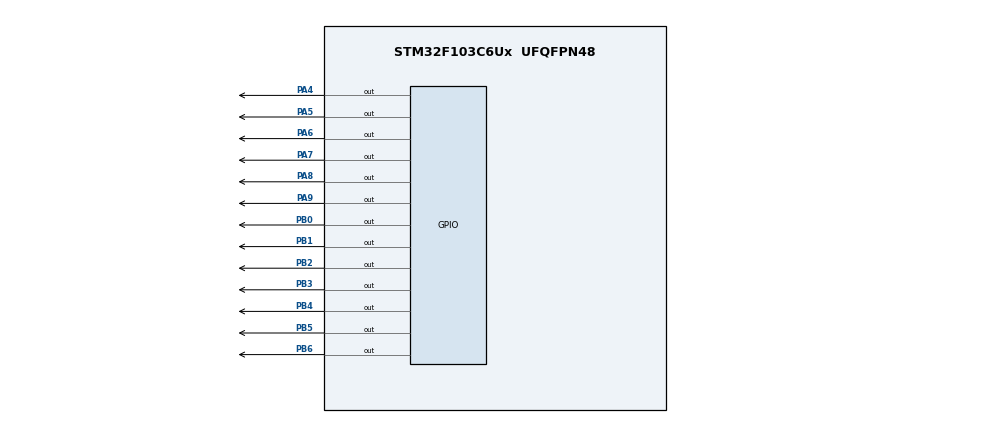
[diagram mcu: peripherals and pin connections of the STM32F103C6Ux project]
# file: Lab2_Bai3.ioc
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Mcu.Family=STM32F1
Mcu.Name=STM32F103C6Ux
Mcu.Package=UFQFPN48
NVIC.PriorityGroup=NVIC_PRIORITYGROUP_4
NVIC.TIM2_IRQn=true\:0\:0\:false\:false\:true\:true\:true
PA4.Signal=GPIO_Output
PA5.Signal=GPIO_Output
PA6.Signal=GPIO_Output
PA7.Signal=GPIO_Output
PA8.Signal=GPIO_Output
PA9.Signal=GPIO_Output
PB0.Signal=GPIO_Output
PB1.Signal=GPIO_Output
PB2.Signal=GPIO_Output
PB3.Signal=GPIO_Output
PB4.Signal=GPIO_Output
PB5.Signal=GPIO_Output
PB6.Signal=GPIO_Output
ProjectManager.HeapSize=0x200
ProjectManager.StackSize=0x400
ProjectManager.TargetToolchain=STM32CubeIDE
RCC.APB1Freq_Value=8000000
RCC.APB2Freq_Value=8000000
TIM2.Period=9
TIM2.Prescaler=7999
VP_SYS_VS_ND.Mode=No_Debug
VP_TIM2_VS_ClockSourceINT.Mode=Internal
board=custom

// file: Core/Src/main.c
/* USER CODE BEGIN Header */
/**
  ******************************************************************************
  * @file           : main.c
  * @brief          : Main program body
  ******************************************************************************
  * @attention
  *
  * <h2><center>&copy; Copyright (c) 2023 STMicroelectronics.
  * All rights reserved.</center></h2>
  *
  * This software component is licensed by ST under BSD 3-Clause license,
  * the "License"; You may not use this file except in compliance with the
  * License. You may obtain a copy of the License at:
  *                        opensource.org/licenses/BSD-3-Clause
  *
  ******************************************************************************
  */
/* USER CODE END Header */
#include "main.h"

/* USER CODE BEGIN Includes */
#include "sofware_timer.h"
/* USER CODE END Includes */

TIM_HandleTypeDef htim2;

void SystemClock_Config(void);
static void MX_GPIO_Init(void);
static void MX_TIM2_Init(void);

/* USER CODE BEGIN 0 */
void display7SEG (int num){
	switch (num){
		case 0:
			HAL_GPIO_WritePin(GPIOB, GPIO_PIN_0, RESET);
			HAL_GPIO_WritePin(GPIOB, GPIO_PIN_1, RESET);
			HAL_GPIO_WritePin(GPIOB, GPIO_PIN_2, RESET);
			HAL_GPIO_WritePin(GPIOB, GPIO_PIN_3, RESET);
			HAL_GPIO_WritePin(GPIOB, GPIO_PIN_4, RESET);
			HAL_GPIO_WritePin(GPIOB, GPIO_PIN_5, RESET);
			HAL_GPIO_WritePin(GPIOB, GPIO_PIN_6, SET);
			break;
		case 1:
			HAL_GPIO_WritePin(GPIOB, GPIO_PIN_0, SET);
			HAL_GPIO_WritePin(GPIOB, GPIO_PIN_1, RESET);
			HAL_GPIO_WritePin(GPIOB, GPIO_PIN_2, RESET);
			HAL_GPIO_WritePin(GPIOB, GPIO_PIN_3, SET);
			HAL_GPIO_WritePin(GPIOB, GPIO_PIN_4, SET);
			HAL_GPIO_WritePin(GPIOB, GPIO_PIN_5, SET);
			HAL_GPIO_WritePin(GPIOB, GPIO_PIN_6, SET);
			break;
		case 2:
			HAL_GPIO_WritePin(GPIOB, GPIO_PIN_0, RESET);
			HAL_GPIO_WritePin(GPIOB, GPIO_PIN_1, RESET);
			HAL_GPIO_WritePin(GPIOB, GPIO_PIN_2, SET);
			HAL_GPIO_WritePin(GPIOB, GPIO_PIN_3, RESET);
			HAL_GPIO_WritePin(GPIOB, GPIO_PIN_4, RESET);
			HAL_GPIO_WritePin(GPIOB, GPIO_PIN_5, SET);
			HAL_GPIO_WritePin(GPIOB, GPIO_PIN_6, RESET);
			break;
		case 3:
			HAL_GPIO_WritePin(GPIOB, GPIO_PIN_0, RESET);
			HAL_GPIO_WritePin(GPIOB, GPIO_PIN_1, RESET);
			HAL_GPIO_WritePin(GPIOB, GPIO_PIN_2, RESET);
			HAL_GPIO_WritePin(GPIOB, GPIO_PIN_3, RESET);
			HAL_GPIO_WritePin(GPIOB, GPIO_PIN_4, SET);
			HAL_GPIO_WritePin(GPIOB, GPIO_PIN_5, SET);
			HAL_GPIO_WritePin(GPIOB, GPIO_PIN_6, RESET);
			break;
		case 4:
			HAL_GPIO_WritePin(GPIOB, GPIO_PIN_0, SET);
			HAL_GPIO_WritePin(GPIOB, GPIO_PIN_1, RESET);
			HAL_GPIO_WritePin(GPIOB, GPIO_PIN_2, RESET);
			HAL_GPIO_WritePin(GPIOB, GPIO_PIN_3, SET);
			HAL_GPIO_WritePin(GPIOB, GPIO_PIN_4, SET);
			HAL_GPIO_WritePin(GPIOB, GPIO_PIN_5, RESET);
			HAL_GPIO_WritePin(GPIOB, GPIO_PIN_6, RESET);
			break;
		case 5:
			HAL_GPIO_WritePin(GPIOB, GPIO_PIN_0, RESET);
			HAL_GPIO_WritePin(GPIOB, GPIO_PIN_1, SET);
			HAL_GPIO_WritePin(GPIOB, GPIO_PIN_2, RESET);
			HAL_GPIO_WritePin(GPIOB, GPIO_PIN_3, RESET);
			HAL_GPIO_WritePin(GPIOB, GPIO_PIN_4, SET);
			HAL_GPIO_WritePin(GPIOB, GPIO_PIN_5, RESET);
			HAL_GPIO_WritePin(GPIOB, GPIO_PIN_6, RESET);
			break;
		case 6:
			HAL_GPIO_WritePin(GPIOB, GPIO_PIN_0, RESET);
			HAL_GPIO_WritePin(GPIOB, GPIO_PIN_1, SET);
			HAL_GPIO_WritePin(GPIOB, GPIO_PIN_2, RESET);
			HAL_GPIO_WritePin(GPIOB, GPIO_PIN_3, RESET);
			HAL_GPIO_WritePin(GPIOB, GPIO_PIN_4, RESET);
			HAL_GPIO_WritePin(GPIOB, GPIO_PIN_5, RESET);
			HAL_GPIO_WritePin(GPIOB, GPIO_PIN_6, RESET);
			break;
		case 7:
			HAL_GPIO_WritePin(GPIOB, GPIO_PIN_0, RESET);
			HAL_GPIO_WritePin(GPIOB, GPIO_PIN_1, RESET);
			HAL_GPIO_WritePin(GPIOB, GPIO_PIN_2, RESET);
			HAL_GPIO_WritePin(GPIOB, GPIO_PIN_3, SET);
			HAL_GPIO_WritePin(GPIOB, GPIO_PIN_4, SET);
			HAL_GPIO_WritePin(GPIOB, GPIO_PIN_5, SET);
			HAL_GPIO_WritePin(GPIOB, GPIO_PIN_6, SET);
			break;
		case 8:
			HAL_GPIO_WritePin(GPIOB, GPIO_PIN_0, RESET);
			HAL_GPIO_WritePin(GPIOB, GPIO_PIN_1, RESET);
			HAL_GPIO_WritePin(GPIOB, GPIO_PIN_2, RESET);
			HAL_GPIO_WritePin(GPIOB, GPIO_PIN_3, RESET);
			HAL_GPIO_WritePin(GPIOB, GPIO_PIN_4, RESET);
			HAL_GPIO_WritePin(GPIOB, GPIO_PIN_5, RESET);
			HAL_GPIO_WritePin(GPIOB, GPIO_PIN_6, RESET);
			break;
		case 9:
			HAL_GPIO_WritePin(GPIOB, GPIO_PIN_0, RESET);
			HAL_GPIO_WritePin(GPIOB, GPIO_PIN_1, RESET);
			HAL_GPIO_WritePin(GPIOB, GPIO_PIN_2, RESET);
			HAL_GPIO_WritePin(GPIOB, GPIO_PIN_3, RESET);
			HAL_GPIO_WritePin(GPIOB, GPIO_PIN_4, SET);
			HAL_GPIO_WritePin(GPIOB, GPIO_PIN_5, RESET);
			HAL_GPIO_WritePin(GPIOB, GPIO_PIN_6, RESET);
			break;
	}
}

const int MAX_LED = 4;
int index_led = 0;
int led_buffer[4] = {1, 2, 3, 4};
void update7SEG(int index){
	switch(index){
		case 0:
			display7SEG(led_buffer[0]);
			HAL_GPIO_WritePin(GPIOA, GPIO_PIN_6, RESET);
			HAL_GPIO_WritePin(GPIOA, GPIO_PIN_7, SET);
			HAL_GPIO_WritePin(GPIOA, GPIO_PIN_8, SET);
			HAL_GPIO_WritePin(GPIOA, GPIO_PIN_9, SET);
			break;
		case 1:
			display7SEG(led_buffer[1]);
			HAL_GPIO_WritePin(GPIOA, GPIO_PIN_6, SET);
			HAL_GPIO_WritePin(GPIOA, GPIO_PIN_7, RESET);
			HAL_GPIO_WritePin(GPIOA, GPIO_PIN_8, SET);
			HAL_GPIO_WritePin(GPIOA, GPIO_PIN_9, SET);
			break;
		case 2:
			display7SEG(led_buffer[2]);
			HAL_GPIO_WritePin(GPIOA, GPIO_PIN_6, SET);
			HAL_GPIO_WritePin(GPIOA, GPIO_PIN_7, SET);
			HAL_GPIO_WritePin(GPIOA, GPIO_PIN_8, RESET);
			HAL_GPIO_WritePin(GPIOA, GPIO_PIN_9, SET);
			break;
		case 3:
			display7SEG(led_buffer[3]);
			HAL_GPIO_WritePin(GPIOA, GPIO_PIN_6, SET);
			HAL_GPIO_WritePin(GPIOA, GPIO_PIN_7, SET);
			HAL_GPIO_WritePin(GPIOA, GPIO_PIN_8, SET);
			HAL_GPIO_WritePin(GPIOA, GPIO_PIN_9, RESET);
			break;
		default:
			break;
	}
}

/* USER CODE END 0 */

int main(void)
{

  /* MCU Configuration--------------------------------------------------------*/

  /* Reset of all peripherals, Initializes the Flash interface and the Systick. */
  HAL_Init();

  /* Configure the system clock */
  SystemClock_Config();

  /* Initialize all configured peripherals */
  MX_GPIO_Init();
  MX_TIM2_Init();
  /* USER CODE BEGIN 2 */
  HAL_TIM_Base_Start_IT(&htim2);
  /* USER CODE END 2 */

  /* Infinite loop */
  /* USER CODE BEGIN WHILE */
  setTimer1(50);
  int counter = 0;
  HAL_GPIO_WritePin(GPIOA, GPIO_PIN_4, SET);
  HAL_GPIO_WritePin(GPIOA, GPIO_PIN_5, SET);
  HAL_GPIO_WritePin(GPIOA, GPIO_PIN_6, SET);
  HAL_GPIO_WritePin(GPIOA, GPIO_PIN_7, SET);
  HAL_GPIO_WritePin(GPIOA, GPIO_PIN_8, SET);
  HAL_GPIO_WritePin(GPIOA, GPIO_PIN_9, SET);
  while (1)
  {
    /* USER CODE END WHILE */
	  if(timer1_flag == 1){
		  update7SEG(counter++);
	  	  HAL_GPIO_TogglePin(GPIOA, GPIO_PIN_4);
	  	  HAL_GPIO_TogglePin(GPIOA, GPIO_PIN_5);
		  if(counter > 3){
			  counter = 0;
		  }
		  setTimer1(50);
	  }
  }
}

void SystemClock_Config(void)
{
  RCC_OscInitTypeDef RCC_OscInitStruct = {0};
  RCC_ClkInitTypeDef RCC_ClkInitStruct = {0};

  /** Initializes the RCC Oscillators according to the specified parameters
  * in the RCC_OscInitTypeDef structure.
  */
  RCC_OscInitStruct.OscillatorType = RCC_OSCILLATORTYPE_HSI;
  RCC_OscInitStruct.HSIState = RCC_HSI_ON;
  RCC_OscInitStruct.HSICalibrationValue = RCC_HSICALIBRATION_DEFAULT;
  RCC_OscInitStruct.PLL.PLLState = RCC_PLL_NONE;
  if (HAL_RCC_OscConfig(&RCC_OscInitStruct) != HAL_OK)
  {
    Error_Handler();
  }
  /** Initializes the CPU, AHB and APB buses clocks
  */
  RCC_ClkInitStruct.ClockType = RCC_CLOCKTYPE_HCLK|RCC_CLOCKTYPE_SYSCLK
                              |RCC_CLOCKTYPE_PCLK1|RCC_CLOCKTYPE_PCLK2;
  RCC_ClkInitStruct.SYSCLKSource = RCC_SYSCLKSOURCE_HSI;
  RCC_ClkInitStruct.AHBCLKDivider = RCC_SYSCLK_DIV1;
  RCC_ClkInitStruct.APB1CLKDivider = RCC_HCLK_DIV1;
  RCC_ClkInitStruct.APB2CLKDivider = RCC_HCLK_DIV1;

  if (HAL_RCC_ClockConfig(&RCC_ClkInitStruct, FLASH_LATENCY_0) != HAL_OK)
  {
    Error_Handler();
  }
}

static void MX_TIM2_Init(void)
{

  TIM_ClockConfigTypeDef sClockSourceConfig = {0};
  TIM_MasterConfigTypeDef sMasterConfig = {0};

  htim2.Instance = TIM2;
  htim2.Init.Prescaler = 7999;
  htim2.Init.CounterMode = TIM_COUNTERMODE_UP;
  htim2.Init.Period = 9;
  htim2.Init.ClockDivision = TIM_CLOCKDIVISION_DIV1;
  htim2.Init.AutoReloadPreload = TIM_AUTORELOAD_PRELOAD_DISABLE;
  if (HAL_TIM_Base_Init(&htim2) != HAL_OK)
  {
    Error_Handler();
  }
  sClockSourceConfig.ClockSource = TIM_CLOCKSOURCE_INTERNAL;
  if (HAL_TIM_ConfigClockSource(&htim2, &sClockSourceConfig) != HAL_OK)
  {
    Error_Handler();
  }
  sMasterConfig.MasterOutputTrigger = TIM_TRGO_RESET;
  sMasterConfig.MasterSlaveMode = TIM_MASTERSLAVEMODE_DISABLE;
  if (HAL_TIMEx_MasterConfigSynchronization(&htim2, &sMasterConfig) != HAL_OK)
  {
    Error_Handler();
  }

}

static void MX_GPIO_Init(void)
{
  GPIO_InitTypeDef GPIO_InitStruct = {0};

  /* GPIO Ports Clock Enable */
  __HAL_RCC_GPIOA_CLK_ENABLE();
  __HAL_RCC_GPIOB_CLK_ENABLE();

  /*Configure GPIO pin Output Level */
  HAL_GPIO_WritePin(GPIOA, GPIO_PIN_4|GPIO_PIN_5|GPIO_PIN_6|GPIO_PIN_7
                          |GPIO_PIN_8|GPIO_PIN_9, GPIO_PIN_RESET);

  /*Configure GPIO pin Output Level */
  HAL_GPIO_WritePin(GPIOB, GPIO_PIN_0|GPIO_PIN_1|GPIO_PIN_2|GPIO_PIN_3
                          |GPIO_PIN_4|GPIO_PIN_5|GPIO_PIN_6, GPIO_PIN_RESET);

  /*Configure GPIO pins : PA4 PA5 PA6 PA7
                           PA8 PA9 */
  GPIO_InitStruct.Pin = GPIO_PIN_4|GPIO_PIN_5|GPIO_PIN_6|GPIO_PIN_7
                          |GPIO_PIN_8|GPIO_PIN_9;
  GPIO_InitStruct.Mode = GPIO_MODE_OUTPUT_PP;
  GPIO_InitStruct.Pull = GPIO_NOPULL;
  GPIO_InitStruct.Speed = GPIO_SPEED_FREQ_LOW;
  HAL_GPIO_Init(GPIOA, &GPIO_InitStruct);

  /*Configure GPIO pins : PB0 PB1 PB2 PB3
                           PB4 PB5 PB6 */
  GPIO_InitStruct.Pin = GPIO_PIN_0|GPIO_PIN_1|GPIO_PIN_2|GPIO_PIN_3
                          |GPIO_PIN_4|GPIO_PIN_5|GPIO_PIN_6;
  GPIO_InitStruct.Mode = GPIO_MODE_OUTPUT_PP;
  GPIO_InitStruct.Pull = GPIO_NOPULL;
  GPIO_InitStruct.Speed = GPIO_SPEED_FREQ_LOW;
  HAL_GPIO_Init(GPIOB, &GPIO_InitStruct);

}

/* USER CODE BEGIN 4 */
int counter = 100;
void HAL_TIM_PeriodElapsedCallback ( TIM_HandleTypeDef * htim ){
	timerRun();
}
/* USER CODE END 4 */

void Error_Handler(void)
{
  __disable_irq();
  while (1)
  {
  }
}

/************************ (C) COPYRIGHT STMicroelectronics *****END OF FILE****/
